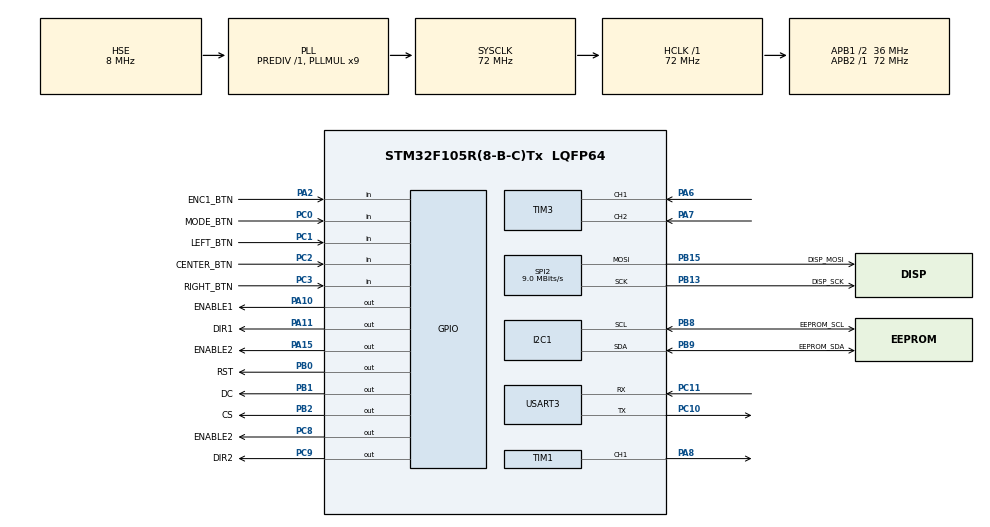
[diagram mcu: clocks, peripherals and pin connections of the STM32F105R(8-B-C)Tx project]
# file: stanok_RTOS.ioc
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Dma.Request0=SPI2_TX
Dma.SPI2_TX.0.Direction=DMA_MEMORY_TO_PERIPH
Dma.SPI2_TX.0.Instance=DMA1_Channel5
Dma.SPI2_TX.0.MemDataAlignment=DMA_MDATAALIGN_BYTE
Dma.SPI2_TX.0.MemInc=DMA_MINC_ENABLE
Dma.SPI2_TX.0.Mode=DMA_NORMAL
Dma.SPI2_TX.0.PeriphDataAlignment=DMA_PDATAALIGN_BYTE
Dma.SPI2_TX.0.PeriphInc=DMA_PINC_DISABLE
Dma.SPI2_TX.0.Priority=DMA_PRIORITY_LOW
FREERTOS.INCLUDE_vTaskDelayUntil=1
FREERTOS.INCLUDE_xEventGroupSetBitFromISR=1
FREERTOS.Tasks01=defaultTask,24,128,StartDefaultTask,Default,NULL,Dynamic,NULL,NULL
FREERTOS.configTIMER_TASK_PRIORITY=3
FREERTOS.configUSE_COUNTING_SEMAPHORES=1
FREERTOS.configUSE_TIMERS=1
I2C1.I2C_Mode=I2C_Fast
Mcu.Family=STM32F1
Mcu.Name=STM32F105R(8-B-C)Tx
Mcu.Package=LQFP64
NVIC.DMA1_Channel5_IRQn=true\:5\:0\:false\:false\:true\:true\:false\:true\:true
NVIC.PriorityGroup=NVIC_PRIORITYGROUP_4
NVIC.TIM6_IRQn=true\:15\:0\:false\:false\:true\:false\:false\:true\:true
NVIC.TimeBase=TIM6_IRQn
NVIC.TimeBaseIP=TIM6
PA10.GPIO_Label=ENABLE1
PA10.Signal=GPIO_Output
PA11.GPIO_Label=DIR1
PA11.Signal=GPIO_Output
PA13.Mode=Serial_Wire
PA13.Signal=SYS_JTMS-SWDIO
PA14.Mode=Serial_Wire
PA14.Signal=SYS_JTCK-SWCLK
PA15.GPIO_Label=ENABLE2
PA15.Signal=GPIO_Output
PA2.GPIO_Label=ENC1_BTN
PA2.GPIO_PuPd=GPIO_NOPULL
PA2.Signal=GPIO_Input
PA6.GPIO_PuPd=GPIO_PULLDOWN
PA6.Signal=S_TIM3_CH1
PA7.GPIO_PuPd=GPIO_PULLDOWN
PA7.Signal=S_TIM3_CH2
PA8.Signal=S_TIM1_CH1
PA9.Signal=S_TIM1_CH2
PB0.GPIO_Label=RST
PB0.Signal=GPIO_Output
PB1.GPIO_Label=DC
PB1.Signal=GPIO_Output
PB13.GPIO_Label=DISP_SCK
PB13.Mode=TX_Only_Simplex_Unidirect_Master
PB13.Signal=SPI2_SCK
PB15.GPIO_Label=DISP_MOSI
PB15.Mode=TX_Only_Simplex_Unidirect_Master
PB15.Signal=SPI2_MOSI
PB2.GPIO_Label=CS
PB2.Signal=GPIO_Output
PB8.GPIO_Label=EEPROM_SCL
PB8.Mode=I2C
PB8.Signal=I2C1_SCL
PB9.GPIO_Label=EEPROM_SDA
PB9.Mode=I2C
PB9.Signal=I2C1_SDA
PC0.GPIO_Label=MODE_BTN
PC0.GPIO_PuPd=GPIO_NOPULL
PC0.Signal=GPIO_Input
PC1.GPIO_Label=LEFT_BTN
PC1.GPIO_PuPd=GPIO_NOPULL
PC1.Signal=GPIO_Input
PC10.Mode=Asynchronous
PC10.Signal=USART3_TX
PC11.Mode=Asynchronous
PC11.Signal=USART3_RX
PC2.GPIO_Label=CENTER_BTN
PC2.GPIO_PuPd=GPIO_NOPULL
PC2.Signal=GPIO_Input
PC3.GPIO_Label=RIGHT_BTN
PC3.GPIO_PuPd=GPIO_NOPULL
PC3.Signal=GPIO_Input
PC8.GPIO_Label=ENABLE2
PC8.Signal=GPIO_Output
PC9.GPIO_Label=DIR2
PC9.Signal=GPIO_Output
PD0-OSC_IN.Mode=HSE-External-Oscillator
PD0-OSC_IN.Signal=RCC_OSC_IN
PD1-OSC_OUT.Mode=HSE-External-Oscillator
PD1-OSC_OUT.Signal=RCC_OSC_OUT
ProjectManager.HeapSize=0x200
ProjectManager.StackSize=0x1000
ProjectManager.TargetToolchain=MDK-ARM V5.32
RCC.AHBFreq_Value=72000000
RCC.APB1CLKDivider=RCC_HCLK_DIV2
RCC.APB1Freq_Value=36000000
RCC.APB1TimFreq_Value=72000000
RCC.APB2Freq_Value=72000000
RCC.APB2TimFreq_Value=72000000
RCC.HCLKFreq_Value=72000000
RCC.PLLMUL=RCC_PLL_MUL9
RCC.PLLSourceVirtual=RCC_PLLSOURCE_HSE
RCC.SYSCLKFreq_VALUE=72000000
RCC.SYSCLKSource=RCC_SYSCLKSOURCE_PLLCLK
RCC.USBFreq_Value=48000000
SH.S_TIM1_CH1.0=TIM1_CH1,PWM Generation1 CH1
SH.S_TIM1_CH2.0=TIM1_CH2
SH.S_TIM3_CH1.0=TIM3_CH1,Encoder_Interface
SH.S_TIM3_CH2.0=TIM3_CH2,Encoder_Interface
SPI2.BaudRatePrescaler=SPI_BAUDRATEPRESCALER_4
SPI2.CalculateBaudRate=9.0 MBits/s
SPI2.DataSize=SPI_DATASIZE_8BIT
SPI2.Direction=SPI_DIRECTION_2LINES
SPI2.Mode=SPI_MODE_MASTER
SPI2.VirtualType=VM_MASTER
TIM1.Channel-PWM\ Generation1\ CH1=TIM_CHANNEL_1
TIM1.OCMode_PWM-PWM\ Generation1\ CH1=TIM_OCMODE_PWM2
TIM1.OCPolarity_1=TIM_OCPOLARITY_HIGH
TIM1.Period=99
TIM1.Prescaler=71
TIM1.Pulse-PWM\ Generation1\ CH1=49
TIM1.RepetitionCounter=255
TIM1.TIM_MasterOutputTrigger=TIM_TRGO_OC1REF
TIM1.TIM_MasterSlaveMode=TIM_MASTERSLAVEMODE_ENABLE
TIM3.IC1Filter=3
TIM3.IC2Filter=4
TIM4.Period=99
TIM4.Prescaler=15
USART3.VirtualMode=VM_ASYNC
VP_FREERTOS_VS_CMSIS_V2.Mode=CMSIS_V2
VP_SYS_VS_tim6.Mode=TIM6
VP_TIM1_VS_ClockSourceINT.Mode=Internal
VP_TIM4_VS_ClockSourceITR.Mode=TriggerSource_ITR0
VP_TIM4_VS_ControllerModeClock.Mode=Clock Mode
board=custom

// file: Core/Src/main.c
/* USER CODE BEGIN Header */
/**
  ******************************************************************************
  * @file           : main.c
  * @brief          : Main program body
  ******************************************************************************
  * @attention
  *
  * Copyright (c) 2024 STMicroelectronics.
  * All rights reserved.
  *
  * This software is licensed under terms that can be found in the LICENSE file
  * in the root directory of this software component.
  * If no LICENSE file comes with this software, it is provided AS-IS.
  *
  ******************************************************************************
  */
/* USER CODE END Header */
#include "main.h"
#include "cmsis_os.h"
#include "dma.h"
#include "i2c.h"
#include "spi.h"
#include "tim.h"
#include "usart.h"
#include "gpio.h"

/* USER CODE BEGIN Includes */
#include "ssd1306.h"
#include "menu.h"
/* USER CODE END Includes */

void SystemClock_Config(void);
void MX_FREERTOS_Init(void);

int main(void)
{

  /* MCU Configuration--------------------------------------------------------*/

  /* Reset of all peripherals, Initializes the Flash interface and the Systick. */
  HAL_Init();

  /* Configure the system clock */
  SystemClock_Config();

  /* Initialize all configured peripherals */
  MX_GPIO_Init();
  MX_DMA_Init();
  MX_SPI2_Init();
  MX_I2C1_Init();
  MX_USART3_UART_Init();
  MX_TIM3_Init();
  MX_TIM1_Init();
  MX_TIM4_Init();
  /* USER CODE BEGIN 2 */
	timers_ini ();
	ssd1306_Init();

	main_menu ();
  /* USER CODE END 2 */

  /* Init scheduler */
  osKernelInitialize();  /* Call init function for freertos objects (in freertos.c) */
  MX_FREERTOS_Init();

  /* Start scheduler */
  osKernelStart();

  /* We should never get here as control is now taken by the scheduler */
  /* Infinite loop */
  while (1)
  {

  }
}

void SystemClock_Config(void)
{
  RCC_OscInitTypeDef RCC_OscInitStruct = {0};
  RCC_ClkInitTypeDef RCC_ClkInitStruct = {0};

  /** Initializes the RCC Oscillators according to the specified parameters
  * in the RCC_OscInitTypeDef structure.
  */
  RCC_OscInitStruct.OscillatorType = RCC_OSCILLATORTYPE_HSE;
  RCC_OscInitStruct.HSEState = RCC_HSE_ON;
  RCC_OscInitStruct.HSEPredivValue = RCC_HSE_PREDIV_DIV1;
  RCC_OscInitStruct.HSIState = RCC_HSI_ON;
  RCC_OscInitStruct.Prediv1Source = RCC_PREDIV1_SOURCE_HSE;
  RCC_OscInitStruct.PLL.PLLState = RCC_PLL_ON;
  RCC_OscInitStruct.PLL.PLLSource = RCC_PLLSOURCE_HSE;
  RCC_OscInitStruct.PLL.PLLMUL = RCC_PLL_MUL9;
  RCC_OscInitStruct.PLL2.PLL2State = RCC_PLL_NONE;
  if (HAL_RCC_OscConfig(&RCC_OscInitStruct) != HAL_OK)
  {
    Error_Handler();
  }

  /** Initializes the CPU, AHB and APB buses clocks
  */
  RCC_ClkInitStruct.ClockType = RCC_CLOCKTYPE_HCLK|RCC_CLOCKTYPE_SYSCLK
                              |RCC_CLOCKTYPE_PCLK1|RCC_CLOCKTYPE_PCLK2;
  RCC_ClkInitStruct.SYSCLKSource = RCC_SYSCLKSOURCE_PLLCLK;
  RCC_ClkInitStruct.AHBCLKDivider = RCC_SYSCLK_DIV1;
  RCC_ClkInitStruct.APB1CLKDivider = RCC_HCLK_DIV2;
  RCC_ClkInitStruct.APB2CLKDivider = RCC_HCLK_DIV1;

  if (HAL_RCC_ClockConfig(&RCC_ClkInitStruct, FLASH_LATENCY_2) != HAL_OK)
  {
    Error_Handler();
  }

  /** Configure the Systick interrupt time
  */
  __HAL_RCC_PLLI2S_ENABLE();
}

void HAL_TIM_PeriodElapsedCallback(TIM_HandleTypeDef *htim)
{
  if (htim->Instance == TIM6) {
    HAL_IncTick();
  }
}

void Error_Handler(void)
{
  __disable_irq();
  while (1)
  {
  }
}

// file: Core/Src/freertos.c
/* USER CODE BEGIN Header */
/**
  ******************************************************************************
  * File Name          : freertos.c
  * Description        : Code for freertos applications
  ******************************************************************************
  * @attention
  *
  * Copyright (c) 2024 STMicroelectronics.
  * All rights reserved.
  *
  * This software is licensed under terms that can be found in the LICENSE file
  * in the root directory of this software component.
  * If no LICENSE file comes with this software, it is provided AS-IS.
  *
  ******************************************************************************
  */
/* USER CODE END Header */

#include "FreeRTOS.h"
#include "task.h"
#include "main.h"
#include "cmsis_os.h"

/* USER CODE BEGIN Includes */
#include "typedef.h"
#include "menu.h"
#include "button.h"
#include "usart.h"

#include <stdio.h>
#include <stdlib.h>
#include <string.h>
/* USER CODE END Includes */

/* USER CODE BEGIN PTD */
typedef StaticQueue_t osStaticMessageQDef_t;
/* USER CODE END PTD */

/* USER CODE BEGIN Variables */
coil_data_t Coil1 = {0};
KEY_MACHINE_t btn_info = {0};

//------------------------------------------------------------------------------------------//
osTimerId_t ButtonTimerHandle;
const osTimerAttr_t ButtonTimer_attributes = {
  .name = "ButtonTimer"
};

//------------------------------------------------------------------------------------------//
osThreadId TaskMenuDisplay_Handle;
const osThreadAttr_t TaskMenuDisplay_attributes =
{
  .name = "MenuDisplayTask",
  .stack_size = 128 * 4,
  .priority = (osPriority_t) osPriorityNormal,
};

//------------------------------------------------------------------------------------------//
osThreadId TaskSelectMode_Handle;
const osThreadAttr_t TaskSelectMode_attributes =
{
  .name = "SelectModeTask",
  .stack_size = 64 * 4,
  .priority = (osPriority_t) osPriorityNormal,
};

//------------------------------------------------------------------------------------------//
osThreadId TaskScanKeys_Handle;
const osThreadAttr_t TaskScanKeys_attributes =
{
  .name = "ScanKeysTask",
  .stack_size = 64 * 4,
  .priority = (osPriority_t) osPriorityNormal,
};

//------------------------------------------------------------------------------------------//
osMessageQueueId_t BtnQueueHandle;
uint8_t BtnQueueBuffer[ 2 * sizeof( uint16_t ) ];
osStaticMessageQDef_t BtnQueueControlBlock;
const osMessageQueueAttr_t BtnQueue_attributes =
{
  .name = "BtnQueue",
  .cb_mem = &BtnQueueControlBlock,
  .cb_size = sizeof(BtnQueueControlBlock),
  .mq_mem = &BtnQueueBuffer,
  .mq_size = sizeof(BtnQueueBuffer)
};

//------------------------------------------------------------------------------------------//
/* USER CODE END Variables */
/* Definitions for defaultTask */
osThreadId_t defaultTaskHandle;
const osThreadAttr_t defaultTask_attributes = {
  .name = "defaultTask",
  .stack_size = 128 * 4,
  .priority = (osPriority_t) osPriorityNormal,
};

/* USER CODE BEGIN FunctionPrototypes */
void Select_Mode (void * argument);
void Show_Display (void * argument);
void Scan_Keys (void * argument);
void ButtonTimerCallback(void *argument);

/* USER CODE END FunctionPrototypes */

void StartDefaultTask(void *argument);

void MX_FREERTOS_Init(void); /* (MISRA C 2004 rule 8.1) */

void MX_FREERTOS_Init(void) {

  /* USER CODE BEGIN RTOS_TIMERS */
	ButtonTimerHandle = osTimerNew(ButtonTimerCallback, osTimerOnce, NULL, &ButtonTimer_attributes);
  /* USER CODE END RTOS_TIMERS */

  /* Create the queue(s) */
  /* creation of BtnQueue */

  /* USER CODE BEGIN RTOS_QUEUES */
	BtnQueueHandle = osMessageQueueNew (2, sizeof(uint16_t), &BtnQueue_attributes);
  /* USER CODE END RTOS_QUEUES */

  /* Create the thread(s) */
  /* creation of defaultTask */
	defaultTaskHandle = osThreadNew(StartDefaultTask, NULL, &defaultTask_attributes);

  /* USER CODE BEGIN RTOS_THREADS */
	TaskMenuDisplay_Handle = osThreadNew(Show_Display, NULL, &TaskMenuDisplay_attributes);
	TaskSelectMode_Handle = osThreadNew(Select_Mode, NULL, &TaskSelectMode_attributes);
	TaskScanKeys_Handle = osThreadNew(Scan_Keys, NULL, &TaskScanKeys_attributes);
  /* USER CODE END RTOS_THREADS */

  /* Create the event(s) */
  /* creation of EventBtnTimer */

}

void StartDefaultTask(void *argument)
{
  /* USER CODE BEGIN StartDefaultTask */
  /* Infinite loop */
  for(;;)
  {
    osDelay(1000);
  }
  /* USER CODE END StartDefaultTask */
}

/* USER CODE BEGIN Application */
//------------------------------------------------------------------------------------------//
void Show_Display (void * argument)
{
	for(;;)
	{
	//	main_menu ();
		osDelay(1000);
	}
}

//------------------------------------------------------------------------------------------//
void Select_Mode  (void * argument)
{
	uint8_t key_code = NO_KEY;
	for(;;)
	{
		if (osMessageQueueGet(BtnQueueHandle, &key_code, NULL, 10) == osOK)
		{
			#ifdef __USE_DBG
			sprintf (DBG_buffer,  "key_code=%u\r\n",key_code);
			DBG_PutString(DBG_buffer);
			#endif

			switch (key_code) //обработка кода нажатой кнопки
			{
				case KEY_PEDAL_SHORT:
					dbg_button_menu (KEY_PEDAL_SHORT);
					break;

				case KEY_ENC_SHORT:
				//	setup_menu (&Pos_Enc1, &Coil1);
					dbg_button_menu (KEY_ENC_SHORT);
					break;

				case KEY_PEDAL_LONG:
				//	init_drive_turn (&Coil1);
					dbg_button_menu (KEY_PEDAL_LONG);
					break;

				case KEY_ENC_LONG:
				//	setup_menu (&Pos_Enc1, &Coil1);
					dbg_button_menu (	KEY_ENC_LONG);
					break;

				default:
					break;
			}
			key_code = NO_KEY;
			osThreadYield ();
		}
		osDelay(10);
	}
}
//------------------------------------------------------------------------------------------//
void Scan_Keys (void * argument)
{
	KEY_MACHINE_t btn_info = {0};

	for(;;)
	{
		if(btn_info.key_state == KEY_STATE_OFF) //если кнопка была отпущена - ожидание нажатия
		{
			if ((btn_info.key_code = scan_keys ()) != NO_KEY)
			{
				btn_info.key_state =  KEY_STATE_ON; //переход в режим нажатия кнопки
			}
		}

		if (btn_info.key_state == KEY_STATE_ON)  //режим нажатия кнопки
		{
			btn_info.key_state = KEY_STATE_BOUNCE;
			osDelay (KEY_BOUNCE_TIME);
		}

		if(btn_info.key_state == KEY_STATE_BOUNCE) //режим окончания дребезга
		{
			if(scan_buttons_GPIO(btn_info.key_code) == ON)	 // если кнопка отпущена (нажатие менее 50 мс это дребезг)
			{
				btn_info.key_state = KEY_STATE_OFF; //переход в начальное состояние ожидания нажатия кнопки
			}
			else //если кнопка продолжает удерживаться
			{
				btn_info.key_state = KEY_STATE_AUTOREPEAT;
				btn_info.count_autorepeat = 0; //обнуление счётчика автоповтора
				osDelay (KEY_AUTOREPEAT_TIME);
			}
		}

		if (btn_info.key_state == KEY_STATE_AUTOREPEAT) //если активен режим автоповтора
		{
			if(scan_buttons_GPIO(btn_info.key_code) == ON) // если кнопка была отпущена (короткое нажатие кнопки < 150 мс)
			{
				btn_info.key_state = KEY_STATE_OFF; //переход в начальное состояние ожидания нажатия кнопки
				osMessageQueuePut ( BtnQueueHandle, &btn_info.key_code, 0, 20);
			}
			else
			{
				if (btn_info.count_autorepeat >= COUNT_REPEAT_BUTTON)	//если кнопка удерживалась более 650 мс
				{
					btn_info.key_code = scan_keys_long (btn_info.key_code);
					osMessageQueuePut ( BtnQueueHandle, &btn_info.key_code, 0, 20);
					btn_info.key_state = KEY_STATE_WAIT_TURNOFF; //стадия ожидания отпускания кнопки
					osDelay (KEY_AUTOREPEAT_TIME);
				}
				else
				{
					{
						btn_info.count_autorepeat++;
						osDelay (KEY_AUTOREPEAT_TIME);
					}
				}
			}
		}

		if (btn_info.key_state == KEY_STATE_WAIT_TURNOFF) //ожидание отпускания кнопки
		{
			if(scan_buttons_GPIO(btn_info.key_code) == ON)	 // если кнопка была отпущена (короткое нажатие кнопки < 150 мс)
			{
				btn_info.key_code = NO_KEY;
				btn_info.key_state = KEY_STATE_OFF; //переход в начальное состояние ожидания нажатия кнопки
			}
			else
			{
				//if (osTimerIsRunning(ButtonTimerHandle) == OFF) //если таймер не запущен
				{
				//	osTimerStart (ButtonTimerHandle, KEY_AUTOREPEAT_TIME); //установка таймера ожидания отключения кнопки
					osDelay (KEY_AUTOREPEAT_TIME);
				}
			}
		}
		osDelay (10);
	}
}

//------------------------------------------------------------------------------------------//
void ButtonTimerCallback (void *argument)
{
	//Task_action('c');
	if (btn_info.key_state == KEY_STATE_ON)
	{	btn_info.key_state = KEY_STATE_BOUNCE;	}
	else
	{
		if (btn_info.key_state == KEY_STATE_BOUNCE)
		{
			btn_info.key_state = KEY_STATE_AUTOREPEAT; //переход в режим автоповтора
			btn_info.count_autorepeat++;
		}
		else
		{
			if (btn_info.key_state == KEY_STATE_AUTOREPEAT)
			{	btn_info.count_autorepeat++; }
		}
	}
}
/* USER CODE END Application */
